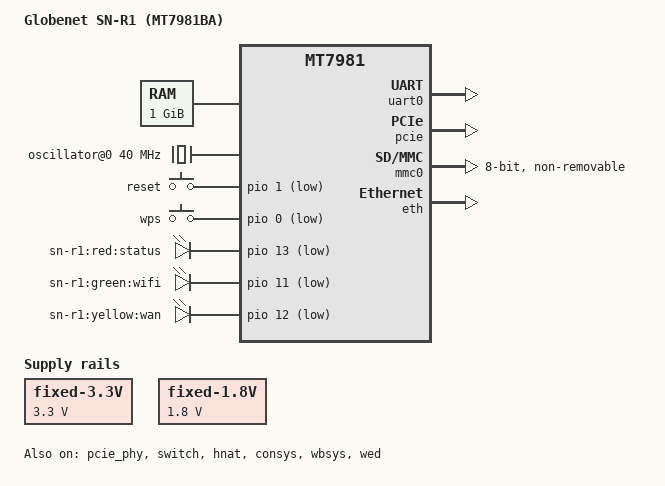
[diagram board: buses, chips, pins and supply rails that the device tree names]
/dts-v1/;
#include "mt7981.dtsi"
#include <dt-bindings/gpio/gpio.h>
#include <dt-bindings/input/input.h>
#include <dt-bindings/leds/common.h>
#include <dt-bindings/thermal/thermal.h>

/ {
	compatible = "globenet,sn-r1", "mediatek,mt7981ba", "mediatek,mt7981-emmc-rfb";
	interrupt-parent = <&gic>;
	#address-cells = <2>;
	#size-cells = <2>;
	model = "Globenet SN-R1 (MT7981BA)";

	chosen {
		bootargs = "console=ttyS0,115200n1 loglevel=8 earlycon=uart8250,mmio32,0x11002000 root=PARTLABEL=rootfs rootfstype=squashfs,f2fs";
		stdout-path = "serial0:115200n8";
	};

	memory@40000000 {
		device_type = "memory";
		reg = <0x00 0x40000000 0x00 0x40000000>;
		mediatek,ddr4-timing = <0x10 0x08 0x06 0x04 0x02 0x00>;
	};

	reserved-memory {
		#address-cells = <2>;
		#size-cells = <2>;
		ranges;

		secmon@43000000 {
			reg = <0x00 0x43000000 0x00 0x30000>;
			no-map;
		};

		wmcpu-reserved@47C80000 {
			compatible = "mediatek,wmcpu-reserved";
			no-map;
			reg = <0x00 0x47c80000 0x00 0x100000>;
		};

		wocpu0_emi@47D80000 {
			compatible = "mediatek,wocpu0_emi";
			no-map;
			reg = <0x00 0x47d80000 0x00 0x40000>;
			shared = <0x00>;
		};

		wocpu_data@47DC0000 {
			compatible = "mediatek,wocpu_data";
			no-map;
			reg = <0x00 0x47dc0000 0x00 0x240000>;
			shared = <0x01>;
		};
	};

	oscillator@0 {
		compatible = "fixed-clock";
		#clock-cells = <0>;
		clock-frequency = <0x2625a00>;
		clock-output-names = "clkxtal";
	};

	infracfg_ao@10001000 {
		compatible = "mediatek,mt7981-infracfg_ao","syscon";
		reg = <0x00 0x10001000 0x00 0x68>;
		#clock-cells = <1>;
	};

	topckgen@1001B000 {
		compatible = "mediatek,mt7981-topckgen","syscon";
		reg = <0x00 0x1001b000 0x00 0x1000>;
		#clock-cells = <1>;
	};

	regulator-3p3v {
		compatible = "regulator-fixed";
		regulator-name = "fixed-3.3V";
		regulator-min-microvolt = <3300000>;
		regulator-max-microvolt = <3300000>;
		regulator-boot-on;
		regulator-always-on;
	};

	regulator-1p8v {
		compatible = "regulator-fixed";
		regulator-name = "fixed-1.8V";
		regulator-min-microvolt = <1800000>;
		regulator-max-microvolt = <1800000>;
		regulator-always-on;
	};

	gpio-keys {
		compatible = "gpio-keys";

		reset {
			label = "reset";
			linux,code = <KEY_RESTART>;
			gpios = <&pio 1 GPIO_ACTIVE_LOW>;
			debounce-interval = <60>;
		};

		wps {
			label = "wps";
			linux,code = <KEY_WPS_BUTTON>;
			gpios = <&pio 0 GPIO_ACTIVE_LOW>;
			debounce-interval = <60>;
		};
	};

	gpio-leds {
		compatible = "gpio-leds";

		led_red {
			label = "sn-r1:red:status";
			gpios = <&pio 13 GPIO_ACTIVE_LOW>;
			default-state = "on";
		};

		led_green {
			label = "sn-r1:green:wifi";
			gpios = <&pio 11 GPIO_ACTIVE_LOW>;
			default-state = "off";
		};

		led_yellow {
			label = "sn-r1:yellow:wan";
			gpios = <&pio 12 GPIO_ACTIVE_LOW>;
			default-state = "off";
		};
	};

	cpus {
		#address-cells = <1>;
		#size-cells = <0>;

		cpu@0 {
			device_type = "cpu";
			compatible = "arm,cortex-a53";
			enable-method = "psci";
			reg = <0x00>;
		};

		cpu@1 {
			device_type = "cpu";
			compatible = "arm,cortex-a53";
			enable-method = "psci";
			reg = <0x01>;
		};
	};

	psci {
		compatible = "arm,psci-0.2";
		method = "smc";
	};

	timer {
		compatible = "arm,armv8-timer";
		interrupt-parent = <&gic>;
		clock-frequency = <0xc65d40>;
		interrupts = <GIC_PPI 13 (GIC_CPU_MASK_SIMPLE(2) | IRQ_TYPE_LEVEL_HIGH)>,
			     <GIC_PPI 14 (GIC_CPU_MASK_SIMPLE(2) | IRQ_TYPE_LEVEL_HIGH)>,
			     <GIC_PPI 11 (GIC_CPU_MASK_SIMPLE(2) | IRQ_TYPE_LEVEL_HIGH)>,
			     <GIC_PPI 10 (GIC_CPU_MASK_SIMPLE(2) | IRQ_TYPE_LEVEL_HIGH)>;
	};

	interrupt-controller@c000000 {
		compatible = "arm,gic-v3";
		#interrupt-cells = <3>;
		interrupt-parent = <&gic>;
		interrupt-controller;
		reg = <0x00 0xc000000 0x00 0x40000>,
		      <0x00 0xc080000 0x00 0x200000>;
		interrupts = <GIC_PPI 9 (GIC_CPU_MASK_SIMPLE(2) | IRQ_TYPE_LEVEL_HIGH)>;
	};
};

&gic {
	status = "okay";
};

&pio {
	compatible = "mediatek,mt7981-pinctrl";
	reg = <0x00 0x11d00000 0x00 0x1000>,
	      <0x00 0x11c00000 0x00 0x1000>,
	      <0x00 0x11c10000 0x00 0x1000>,
	      <0x00 0x11d20000 0x00 0x1000>,
	      <0x00 0x11e00000 0x00 0x1000>,
	      <0x00 0x11e20000 0x00 0x1000>,
	      <0x00 0x11f00000 0x00 0x1000>,
	      <0x00 0x11f10000 0x00 0x1000>,
	      <0x00 0x1000b000 0x00 0x1000>;
	reg-names = "gpio_base", "iocfg_rt_base", "iocfg_rm_base",
		    "iocfg_rb_base", "iocfg_lb_base", "iocfg_bl_base",
		    "iocfg_tm_base", "iocfg_tl_base", "eint";
	gpio-controller;
	#gpio-cells = <2>;
	gpio-ranges = <&pio 0 0 56>;
	interrupt-controller;
	interrupts = <GIC_SPI 225 IRQ_TYPE_LEVEL_HIGH>;
	interrupt-parent = <&gic>;
	#interrupt-cells = <2>;

	mmc0-pins {
		mux {
			function = "flash";
			groups = "emmc_45";
		};
		conf {
			pins = "SPI_MOSI", "SPI_MISO", "SPI_CLK", "SPI_CS",
			       "GPIO_22", "GPIO_23", "GPIO_24", "GPIO_25";
			drive-strength = <10>;
			bias-pull-up;
		};
	};
};

&uart0 {
	status = "okay";
};

// ====================== M.2 PCIe 打开（插卡就能用） ======================
&pcie {
	status = "okay";
};

&pcie_phy {
	status = "okay";
};
// ==========================================================================

// ====================== 原生 USB 关闭（你主板没有） ======================
&xhci {
	status = "disabled";
};

&usb_phy {
	status = "disabled";
};
// ==========================================================================

&mmc0 {
	compatible = "mediatek,mt7986-mmc", "mediatek,mt7981-mmc";
	reg = <0x00 0x11230000 0x00 0x1000>,
	      <0x00 0x11c20000 0x00 0x1000>;
	interrupts = <GIC_SPI 143 IRQ_TYPE_LEVEL_HIGH>;
	clocks = <&topckgen 51>, <&topckgen 52>, <&infracfg_ao 43>;
	assigned-clocks = <&topckgen 84>, <&topckgen 85>;
	assigned-clock-parents = <&topckgen 2>, <&topckgen 28>;
	clock-names = "source", "hclk", "source_cg";
	status = "okay";
	pinctrl-names = "default";
	pinctrl-0 = <&mmc0-pins>;
	bus-width = <8>;
	max-frequency = <200000000>;
	cap-mmc-highspeed;
	non-removable;
	disable-wp;
	mmc-hs200-1_8v;
	mediatek,emmc-trim-support;

	partitions {
		compatible = "fixed-partitions";
		#address-cells = <1>;
		#size-cells = <1>;

		partition@0 {
			label = "BL2";
			reg = <0x0 0x100000>;
			read-only;
		};
		partition@100000 {
			label = "u-boot-env";
			reg = <0x100000 0x100000>;
		};
		partition@200000 {
			label = "Factory";
			reg = <0x200000 0x200000>;
			read-only;
		};
		partition@400000 {
			label = "FIP";
			reg = <0x400000 0x200000>;
			read-only;
		};
		partition@600000 {
			label = "ubi";
			reg = <0x600000 0x7F900000>;
		};
	};
};

&eth {
	status = "okay";
	mediatek,switch = <&switch>;

	mac@0 {
		reg = <0>;
		phy-mode = "2500base-x";
		fixed-link {
			speed = <2500>;
			full-duplex;
			pause;
		};
	};
};

&switch {
	compatible = "mediatek,mt7531ae";
	reg = <0x1f>;
	reset-gpios = <&pio 39 GPIO_ACTIVE_HIGH>;
	status = "okay";
};

&hnat {
	status = "okay";
};

&consys {
	status = "okay";
};

&wbsys {
	status = "okay";
};

&wed {
	status = "okay";
};

&dummy_system_clk {
	compatible = "fixed-clock";
	clock-frequency = <0x2625a00>;
	#clock-cells = <0>;
};
